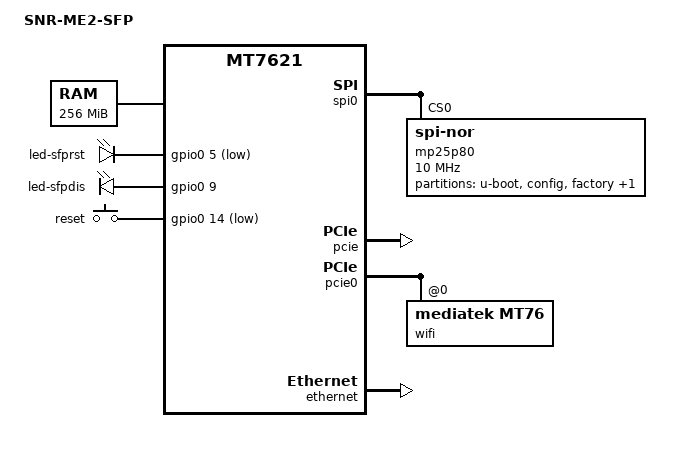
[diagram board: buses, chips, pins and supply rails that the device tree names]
/dts-v1/;

#include "mt7621.dtsi"

#include <dt-bindings/gpio/gpio.h>
#include <dt-bindings/input/input.h>

/ {
	model = "SNR-ME2-SFP";
        compatible = "snr-me2-sfp", "mediatek,mt7621-soc";

        memory@0 {
                device_type = "memory";
                reg = <0x0 0x10000000>; // 256MB RAM
        };

        chosen {
                bootargs = "console=ttyS0,57600";
        };

	leds {
		compatible = "gpio-leds";

		led-sfprst { // reset SFP module
			gpios = <&gpio0 5 GPIO_ACTIVE_LOW>;
			default-state = "on";
		};

		led-sfpdis { // enable SFP module
			gpios = <&gpio0 9 GPIO_ACTIVE_HIGH>;
			default-state = "on";
		};
	};

	keys {
		compatible = "gpio-keys-polled";
		poll-interval = <20>;

		reset {
			label = "reset";
			gpios = <&gpio0 14 GPIO_ACTIVE_LOW>;
			linux,code = <KEY_RESTART>;
		};
	};
};

&spi0 {
	status = "okay";

	mp25p80@0 {
		compatible = "jedec,spi-nor";
		reg = <0>;
		spi-max-frequency = <10000000>;

		partitions {
			compatible = "fixed-partitions";
			#address-cells = <1>;
			#size-cells = <1>;

			partition@0 {
				label = "u-boot";
				reg = <0x0 0x30000>;
				read-only;
			};

			partition@30000 {
				label = "config"; // u-boot-env
				reg = <0x30000 0x10000>;
				read-only;
			};

			factory: partition@40000 {
				label = "factory";
				reg = <0x40000 0x10000>;
				read-only;
			};

			partition@50000 {
				compatible = "denx,uimage";
				label = "firmware";
				reg = <0x50000 0xFB0000>;
			};
		};
	};
};

&pcie {
	status = "okay";
};

&pcie0 {
    wifi@0,0 {
        compatible = "mediatek,mt76";
        reg = <0x0000 0 0 0 0>;
        mediatek,mtd-eeprom = <&factory 0x0000>;
        mtd-mac-address = <&factory 0x8004>;
    };
};

&ethernet {
	status = "okay";
	mediatek,portmap = "wllll";
	mtd-mac-address = <&factory 0x0e000>; // lan, 0x0e006 - wan
};

&pinctrl {
	state_default: pinctrl0 {
		gpio {
			ralink,group = "jtag", "wdt";
			ralink,function = "gpio";
		};
	};
};
